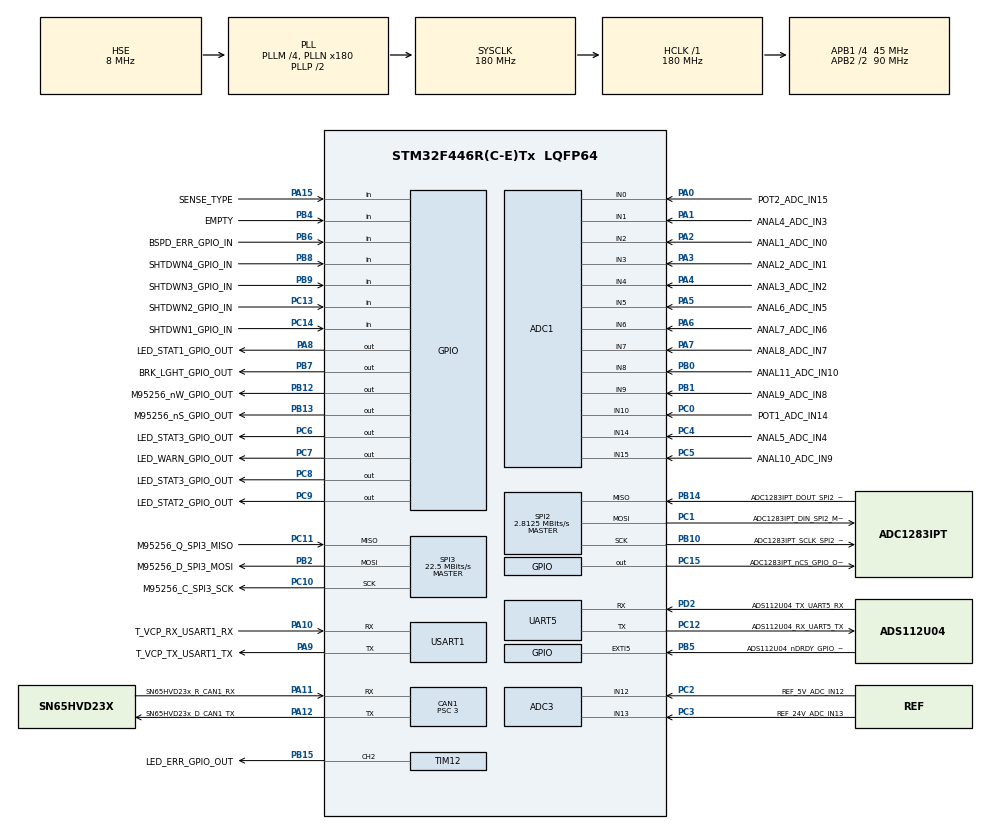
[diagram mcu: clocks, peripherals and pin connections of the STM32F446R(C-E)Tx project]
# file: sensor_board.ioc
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ADC1.Channel-0\#ChannelRegularConversion=ADC_CHANNEL_0
ADC1.Channel-1\#ChannelRegularConversion=ADC_CHANNEL_1
ADC1.Channel-10\#ChannelRegularConversion=ADC_CHANNEL_10
ADC1.Channel-14\#ChannelRegularConversion=ADC_CHANNEL_14
ADC1.Channel-15\#ChannelRegularConversion=ADC_CHANNEL_15
ADC1.Channel-2\#ChannelRegularConversion=ADC_CHANNEL_2
ADC1.Channel-3\#ChannelRegularConversion=ADC_CHANNEL_3
ADC1.Channel-4\#ChannelRegularConversion=ADC_CHANNEL_4
ADC1.Channel-5\#ChannelRegularConversion=ADC_CHANNEL_5
ADC1.Channel-6\#ChannelRegularConversion=ADC_CHANNEL_6
ADC1.Channel-7\#ChannelRegularConversion=ADC_CHANNEL_7
ADC1.Channel-8\#ChannelRegularConversion=ADC_CHANNEL_8
ADC1.Channel-9\#ChannelRegularConversion=ADC_CHANNEL_9
ADC1.DMAContinuousRequests=ENABLE
ADC1.DiscontinuousConvMode=DISABLE
ADC1.EOCSelection=ADC_EOC_SINGLE_CONV
ADC1.ExternalTrigConv=ADC_EXTERNALTRIGCONV_T2_TRGO
ADC1.ExternalTrigConvEdge=ADC_EXTERNALTRIGCONVEDGE_RISINGFALLING
ADC1.NbrOfConversion=13
ADC1.NbrOfConversionFlag=1
ADC1.Rank-0\#ChannelRegularConversion=1
ADC1.Rank-1\#ChannelRegularConversion=2
ADC1.Rank-10\#ChannelRegularConversion=11
ADC1.Rank-14\#ChannelRegularConversion=12
ADC1.Rank-15\#ChannelRegularConversion=13
ADC1.Rank-2\#ChannelRegularConversion=3
ADC1.Rank-3\#ChannelRegularConversion=4
ADC1.Rank-4\#ChannelRegularConversion=5
ADC1.Rank-5\#ChannelRegularConversion=6
ADC1.Rank-6\#ChannelRegularConversion=7
ADC1.Rank-7\#ChannelRegularConversion=8
ADC1.Rank-8\#ChannelRegularConversion=9
ADC1.Rank-9\#ChannelRegularConversion=10
ADC1.SamplingTime-0\#ChannelRegularConversion=ADC_SAMPLETIME_480CYCLES
ADC1.SamplingTime-1\#ChannelRegularConversion=ADC_SAMPLETIME_480CYCLES
ADC1.SamplingTime-10\#ChannelRegularConversion=ADC_SAMPLETIME_480CYCLES
ADC1.SamplingTime-14\#ChannelRegularConversion=ADC_SAMPLETIME_480CYCLES
ADC1.SamplingTime-15\#ChannelRegularConversion=ADC_SAMPLETIME_480CYCLES
ADC1.SamplingTime-2\#ChannelRegularConversion=ADC_SAMPLETIME_480CYCLES
ADC1.SamplingTime-3\#ChannelRegularConversion=ADC_SAMPLETIME_480CYCLES
ADC1.SamplingTime-4\#ChannelRegularConversion=ADC_SAMPLETIME_480CYCLES
ADC1.SamplingTime-5\#ChannelRegularConversion=ADC_SAMPLETIME_480CYCLES
ADC1.SamplingTime-6\#ChannelRegularConversion=ADC_SAMPLETIME_480CYCLES
ADC1.SamplingTime-7\#ChannelRegularConversion=ADC_SAMPLETIME_480CYCLES
ADC1.SamplingTime-8\#ChannelRegularConversion=ADC_SAMPLETIME_480CYCLES
ADC1.SamplingTime-9\#ChannelRegularConversion=ADC_SAMPLETIME_480CYCLES
ADC1.ScanConvMode=ENABLE
ADC1.master=1
ADC3.Channel-3\#ChannelRegularConversion=ADC_CHANNEL_12
ADC3.NbrOfConversionFlag=1
ADC3.Rank-3\#ChannelRegularConversion=1
ADC3.SamplingTime-3\#ChannelRegularConversion=ADC_SAMPLETIME_3CYCLES
CAN1.ABOM=ENABLE
CAN1.BS1=CAN_BS1_12TQ
CAN1.BS2=CAN_BS2_2TQ
CAN1.CalculateBaudRate=1000000
CAN1.CalculateTimeBit=1000
CAN1.CalculateTimeQuantum=66.66666666666666
CAN1.Prescaler=3
Dma.ADC1.0.Direction=DMA_PERIPH_TO_MEMORY
Dma.ADC1.0.FIFOMode=DMA_FIFOMODE_DISABLE
Dma.ADC1.0.Instance=DMA2_Stream0
Dma.ADC1.0.MemDataAlignment=DMA_MDATAALIGN_HALFWORD
Dma.ADC1.0.MemInc=DMA_MINC_ENABLE
Dma.ADC1.0.Mode=DMA_CIRCULAR
Dma.ADC1.0.PeriphDataAlignment=DMA_PDATAALIGN_HALFWORD
Dma.ADC1.0.PeriphInc=DMA_PINC_DISABLE
Dma.ADC1.0.Priority=DMA_PRIORITY_LOW
Dma.Request0=ADC1
IWDG.Reload=4096-1
Mcu.Family=STM32F4
Mcu.Name=STM32F446R(C-E)Tx
Mcu.Package=LQFP64
NVIC.ADC_IRQn=true\:0\:0\:false\:false\:true\:true\:true\:true
NVIC.CAN1_RX0_IRQn=true\:0\:0\:false\:false\:true\:true\:true\:true
NVIC.CAN1_RX1_IRQn=true\:0\:0\:false\:false\:true\:true\:true\:true
NVIC.CAN1_SCE_IRQn=true\:0\:0\:false\:false\:true\:true\:true\:true
NVIC.CAN1_TX_IRQn=true\:0\:0\:false\:false\:true\:true\:true\:true
NVIC.DMA2_Stream0_IRQn=true\:0\:0\:false\:false\:true\:false\:true\:true
NVIC.PriorityGroup=NVIC_PRIORITYGROUP_4
NVIC.TIM2_IRQn=true\:0\:0\:false\:false\:true\:true\:true\:true
NVIC.TIM6_DAC_IRQn=true\:0\:0\:false\:false\:true\:true\:true\:true
NVIC.TIM7_IRQn=true\:0\:0\:false\:false\:true\:true\:true\:true
NVIC.USART1_IRQn=true\:0\:0\:false\:false\:true\:true\:true\:true
PA0-WKUP.GPIO_Label=POT2_ADC_IN15
PA0-WKUP.Signal=ADCx_IN0
PA1.GPIO_Label=ANAL4_ADC_IN3
PA1.Signal=ADCx_IN1
PA10.GPIO_Label=T_VCP_RX_USART1_RX
PA10.Mode=Asynchronous
PA10.Signal=USART1_RX
PA11.GPIO_Label=SN65HVD23x_R_CAN1_RX
PA11.Mode=CAN_Activate
PA11.Signal=CAN1_RX
PA12.GPIO_Label=SN65HVD23x_D_CAN1_TX
PA12.Mode=CAN_Activate
PA12.Signal=CAN1_TX
PA13.Mode=Trace_Asynchronous_SW
PA13.Signal=SYS_JTMS-SWDIO
PA14.Mode=Trace_Asynchronous_SW
PA14.Signal=SYS_JTCK-SWCLK
PA15.GPIO_Label=SENSE_TYPE
PA15.GPIO_PuPd=GPIO_PULLUP
PA15.Signal=GPIO_Input
PA2.GPIO_Label=ANAL1_ADC_IN0
PA2.Signal=ADCx_IN2
PA3.GPIO_Label=ANAL2_ADC_IN1
PA3.Signal=ADCx_IN3
PA4.GPIO_Label=ANAL3_ADC_IN2
PA4.Signal=ADCx_IN4
PA5.GPIO_Label=ANAL6_ADC_IN5
PA5.Signal=ADCx_IN5
PA6.GPIO_Label=ANAL7_ADC_IN6
PA6.Signal=ADCx_IN6
PA7.GPIO_Label=ANAL8_ADC_IN7
PA7.Signal=ADCx_IN7
PA8.GPIO_Label=LED_STAT1_GPIO_OUT
PA8.Signal=GPIO_Output
PA9.GPIO_Label=T_VCP_TX_USART1_TX
PA9.Mode=Asynchronous
PA9.Signal=USART1_TX
PB0.GPIO_Label=ANAL11_ADC_IN10
PB0.Signal=ADCx_IN8
PB1.GPIO_Label=ANAL9_ADC_IN8
PB1.Signal=ADCx_IN9
PB10.GPIO_Label=ADC1283IPT_SCLK_SPI2_SCK
PB10.Mode=Full_Duplex_Master
PB10.Signal=SPI2_SCK
PB12.GPIO_Label=M95256_nW_GPIO_OUT
PB12.Signal=GPIO_Output
PB13.GPIO_Label=M95256_nS_GPIO_OUT
PB13.Signal=GPIO_Output
PB14.GPIO_Label=ADC1283IPT_DOUT_SPI2_MISO
PB14.Mode=Full_Duplex_Master
PB14.Signal=SPI2_MISO
PB15.GPIO_Label=LED_ERR_GPIO_OUT
PB15.Signal=S_TIM12_CH2
PB2.GPIO_Label=M95256_D_SPI3_MOSI
PB2.Mode=Full_Duplex_Master
PB2.Signal=SPI3_MOSI
PB3.Mode=Trace_Asynchronous_SW
PB3.Signal=SYS_JTDO-SWO
PB4.GPIO_Label=EMPTY
PB4.GPIO_PuPd=GPIO_PULLDOWN
PB4.Signal=GPIO_Input
PB5.GPIO_Label=ADS112U04_nDRDY_GPIO_IN
PB5.Signal=GPXTI5
PB6.GPIO_Label=BSPD_ERR_GPIO_IN
PB6.Signal=GPIO_Input
PB7.GPIO_Label=BRK_LGHT_GPIO_OUT
PB7.Signal=GPIO_Output
PB8.GPIO_Label=SHTDWN4_GPIO_IN
PB8.Signal=GPIO_Input
PB9.GPIO_Label=SHTDWN3_GPIO_IN
PB9.Signal=GPIO_Input
PC0.GPIO_Label=POT1_ADC_IN14
PC0.Signal=ADCx_IN10
PC1.GPIO_Label=ADC1283IPT_DIN_SPI2_MOSI
PC1.Mode=Full_Duplex_Master
PC1.Signal=SPI2_MOSI
PC10.GPIO_Label=M95256_C_SPI3_SCK
PC10.Mode=Full_Duplex_Master
PC10.Signal=SPI3_SCK
PC11.GPIO_Label=M95256_Q_SPI3_MISO
PC11.Mode=Full_Duplex_Master
PC11.Signal=SPI3_MISO
PC12.GPIO_Label=ADS112U04_RX_UART5_TX
PC12.Mode=Asynchronous
PC12.Signal=UART5_TX
PC13.GPIO_Label=SHTDWN2_GPIO_IN
PC13.Signal=GPIO_Input
PC14-OSC32_IN.GPIO_Label=SHTDWN1_GPIO_IN
PC14-OSC32_IN.Signal=GPIO_Input
PC15-OSC32_OUT.GPIO_Label=ADC1283IPT_nCS_GPIO_OUT
PC15-OSC32_OUT.Signal=GPIO_Output
PC2.GPIO_Label=REF_5V_ADC_IN12
PC2.Signal=ADCx_IN12
PC3.GPIO_Label=REF_24V_ADC_IN13
PC3.Signal=ADCx_IN13
PC4.GPIO_Label=ANAL5_ADC_IN4
PC4.Signal=ADCx_IN14
PC5.GPIO_Label=ANAL10_ADC_IN9 
PC5.Signal=ADCx_IN15
PC6.GPIO_Label=LED_STAT3_GPIO_OUT
PC6.Signal=GPIO_Output
PC7.GPIO_Label=LED_WARN_GPIO_OUT
PC7.Signal=GPIO_Output
PC8.GPIO_Label=LED_STAT3_GPIO_OUT
PC8.Signal=GPIO_Output
PC9.GPIO_Label=LED_STAT2_GPIO_OUT
PC9.Signal=GPIO_Output
PD2.GPIO_Label=ADS112U04_TX_UART5_RX
PD2.Mode=Asynchronous
PD2.Signal=UART5_RX
PH0-OSC_IN.Mode=HSE-External-Oscillator
PH0-OSC_IN.Signal=RCC_OSC_IN
PH1-OSC_OUT.Mode=HSE-External-Oscillator
PH1-OSC_OUT.Signal=RCC_OSC_OUT
ProjectManager.HeapSize=0x200
ProjectManager.StackSize=0x400
ProjectManager.TargetToolchain=Makefile
RCC.AHBFreq_Value=180000000
RCC.APB1CLKDivider=RCC_HCLK_DIV4
RCC.APB1Freq_Value=45000000
RCC.APB1TimFreq_Value=90000000
RCC.APB2CLKDivider=RCC_HCLK_DIV2
RCC.APB2Freq_Value=90000000
RCC.APB2TimFreq_Value=180000000
RCC.CortexFreq_Value=180000000
RCC.HCLKFreq_Value=180000000
RCC.HSE_VALUE=8000000
RCC.PLLM=4
RCC.PLLN=180
RCC.PLLSourceVirtual=RCC_PLLSOURCE_HSE
RCC.SYSCLKFreq_VALUE=180000000
RCC.SYSCLKSource=RCC_SYSCLKSOURCE_PLLCLK
RCC.USBFreq_Value=180000000
RCC.VCOOutputFreq_Value=360000000
SH.ADCx_IN0.0=ADC1_IN0,IN0
SH.ADCx_IN1.0=ADC1_IN1,IN1
SH.ADCx_IN10.0=ADC1_IN10,IN10
SH.ADCx_IN12.0=ADC3_IN12,IN12
SH.ADCx_IN13.0=ADC3_IN13,IN13
SH.ADCx_IN14.0=ADC2_IN14
SH.ADCx_IN14.1=ADC1_IN14,IN14
SH.ADCx_IN15.0=ADC2_IN15
SH.ADCx_IN15.1=ADC1_IN15,IN15
SH.ADCx_IN2.0=ADC1_IN2,IN2
SH.ADCx_IN3.0=ADC1_IN3,IN3
SH.ADCx_IN4.0=ADC1_IN4,IN4
SH.ADCx_IN5.0=ADC1_IN5,IN5
SH.ADCx_IN6.0=ADC1_IN6,IN6
SH.ADCx_IN7.0=ADC1_IN7,IN7
SH.ADCx_IN8.0=ADC1_IN8,IN8
SH.ADCx_IN9.0=ADC1_IN9,IN9
SH.S_TIM12_CH2.0=TIM12_CH2,PWM Generation2 CH2
SPI2.BaudRatePrescaler=SPI_BAUDRATEPRESCALER_16
SPI2.CLKPhase=SPI_PHASE_2EDGE
SPI2.CLKPolarity=SPI_POLARITY_HIGH
SPI2.CalculateBaudRate=2.8125 MBits/s
SPI2.DataSize=SPI_DATASIZE_8BIT
SPI2.Direction=SPI_DIRECTION_2LINES
SPI2.FirstBit=SPI_FIRSTBIT_MSB
SPI2.Mode=SPI_MODE_MASTER
SPI2.VirtualType=VM_MASTER
SPI3.CalculateBaudRate=22.5 MBits/s
SPI3.Direction=SPI_DIRECTION_2LINES
SPI3.Mode=SPI_MODE_MASTER
SPI3.VirtualType=VM_MASTER
TIM12.Channel-PWM\ Generation2\ CH2=TIM_CHANNEL_2
TIM2.Period=9
TIM2.Prescaler=899
TIM2.TIM_MasterOutputTrigger=TIM_TRGO_UPDATE
TIM6.Prescaler=899
TIM7.Prescaler=45000-1
UART5.VirtualMode=Asynchronous
USART1.VirtualMode=VM_ASYNC
VP_IWDG_VS_IWDG.Mode=IWDG_Activate
VP_TIM12_VS_ClockSourceITR.Mode=TriggerSource_ITR0
VP_TIM2_VS_ClockSourceINT.Mode=Internal
VP_TIM6_VS_ClockSourceINT.Mode=Enable_Timer
VP_TIM7_VS_ClockSourceINT.Mode=Enable_Timer
board=custom

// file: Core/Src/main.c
/* USER CODE BEGIN Header */
/**
  ******************************************************************************
  * @file           : main.c
  * @brief          : Main program body
  ******************************************************************************
  * @attention
  *
  * Copyright (c) 2023 STMicroelectronics.
  * All rights reserved.
  *
  * This software is licensed under terms that can be found in the LICENSE file
  * in the root directory of this software component.
  * If no LICENSE file comes with this software, it is provided AS-IS.
  *
  ******************************************************************************
  */
/* USER CODE END Header */
#include "main.h"
#include "adc.h"
#include "can.h"
#include "dma.h"
#include "iwdg.h"
#include "spi.h"
#include "tim.h"
#include "usart.h"
#include "gpio.h"

/* USER CODE BEGIN Includes */
// clang-format off
#include "conf.h"
// clang-format on
#include "bsp.h"
#include "can_send_timebase.h"
#include "can_utils.h"
#include "logger_wrapper.h"
#include "stdio.h"
#include "string.h"
/* USER CODE END Includes */

/* USER CODE BEGIN PV */
char buf[100] = {};
/* USER CODE END PV */

void SystemClock_Config(void);

int main(void)
{

  /* MCU Configuration--------------------------------------------------------*/

  /* Reset of all peripherals, Initializes the Flash interface and the Systick. */
  HAL_Init();

  /* Configure the system clock */
  SystemClock_Config();

  /* Initialize all configured peripherals */
  MX_GPIO_Init();
  MX_DMA_Init();
  MX_TIM2_Init();
  MX_ADC1_Init();
  MX_CAN1_Init();
  MX_SPI2_Init();
  MX_SPI3_Init();
  MX_UART5_Init();
  MX_USART1_UART_Init();
  MX_ADC3_Init();
  MX_TIM12_Init();
  MX_TIM6_Init();
  MX_TIM7_Init();
  MX_IWDG_Init();
  /* USER CODE BEGIN 2 */
    logger_init();
    can_init();
    can_send_timebase_init();

    // Show at the start the type of sensorboard in function
    if (SENS_GET_TYPE() == SENS_TYPE_FRONT) {
        HAL_GPIO_WritePin(SENS_FRONT_LED_GPIO_PORT, SENS_FRONT_LED_GPIO_PIN, GPIO_PIN_SET);
        can_send_msg(MCB_SB_FRONT_HELLO_FRAME_ID);
    } else {
        HAL_GPIO_WritePin(SENS_REAR_LED_GPIO_PORT, SENS_REAR_LED_GPIO_PIN, GPIO_PIN_SET);
        can_send_msg(MCB_SB_REAR_HELLO_FRAME_ID);
    }
    uint32_t cnt1ms    = HAL_GetTick() + 1U;
    uint32_t cnt10ms   = HAL_GetTick() + 10U;
    uint32_t cnt100ms  = HAL_GetTick() + 100U;
    uint32_t cnt1000ms = HAL_GetTick() + 1000U;

    uint32_t ntc_sampling_cnt = HAL_GetTick();

  /* USER CODE END 2 */

  /* Infinite loop */
  /* USER CODE BEGIN WHILE */
    while (1) {
        //DRTB_routine();
        if (HAL_GetTick() >= cnt1ms) {
            cnt1ms += 1U;
        }
        if (HAL_GetTick() >= cnt10ms) {
            cnt10ms += 10U;

#ifdef DEBUG_SERIAL
            char *target = buf;
#ifdef DEBUG_AIN
            for (int i = 0; i < ADC_ADC1_Channel_NUM; i++) {
                float val = ADC_ADC1_getChannel_V((enum ADC_ADC1_Channel)i);
                target += sprintf(target, "%.3f,", val);
            }
#endif  // DEBUG_AIN
#ifdef DEBUG_NTC
            for (int i = 0; i < NTC_Probe_NUM; i++) {
                float val = NTC_Probe_get_resistance((enum NTC_Probe)i);
                target += sprintf(target, "%.3f,", val);
            }
#endif  // DEBUG_NTC
#ifdef DEBUG_SDC
            for (int i = 0; i < SDC_Probe_NUM; i++) {
                uint8_t val = SDC_Probe_get_status((enum SDC_Probe)i);
                target += sprintf(target, "%u,", val);
            }
#endif  // DEBUG_SDC
#ifdef DEBUG_BSPD
            target += sprintf(target, "%u,", BSPD_DEV_IS_IN_ERR());
#endif  // DEBUG_BSPD
#ifdef DEBUG_BRAKE_LIGHT
            target += sprintf(target, "%u,", BRAKE_LIGHT_IS_ON());
#endif  // DEBUG_BRAKE_LIGHT

            // remove last ","
            if (target > buf) {
                target--;
            }
            // add newline at the end
            target += sprintf(target, "\r\n");
            HAL_UART_Transmit(&VCP_UART_Handle, (uint8_t *)buf, strlen(buf), VCP_TX_LOG_BUF_MAX_TIMEOUT_ms);
#endif  // DEBUG_SERIAL
        }
        if (HAL_GetTick() >= cnt100ms) {
            cnt100ms += 100U;
        }
        if (HAL_GetTick() >= cnt1000ms) {
            cnt1000ms += 1000U;
            // Show I'm Alive by blinking sens type led
            if (SENS_GET_TYPE() == SENS_TYPE_FRONT) {
                HAL_GPIO_TogglePin(SENS_FRONT_LED_GPIO_PORT, SENS_FRONT_LED_GPIO_PIN);
            } else {
                HAL_GPIO_TogglePin(SENS_REAR_LED_GPIO_PORT, SENS_REAR_LED_GPIO_PIN);
            }
        }
        // Run NTC Probes sampling
        if (HAL_GetTick() >= ntc_sampling_cnt + NTC_SAMP_PERIOD_ms) {
            ntc_sampling_cnt += NTC_SAMP_PERIOD_ms;
            NTC_Probes_sampling_routine();
        }

        can_send_timebase_routine();
        logger_routine();

    /* USER CODE END WHILE */

    /* USER CODE BEGIN 3 */
        HAL_IWDG_Refresh(&hiwdg);  // refresh watchdog ~10ms timeout
    }                              // end while(1)
  /* USER CODE END 3 */
}

void SystemClock_Config(void)
{
  RCC_OscInitTypeDef RCC_OscInitStruct = {0};
  RCC_ClkInitTypeDef RCC_ClkInitStruct = {0};

  /** Configure the main internal regulator output voltage
  */
  __HAL_RCC_PWR_CLK_ENABLE();
  __HAL_PWR_VOLTAGESCALING_CONFIG(PWR_REGULATOR_VOLTAGE_SCALE1);

  /** Initializes the RCC Oscillators according to the specified parameters
  * in the RCC_OscInitTypeDef structure.
  */
  RCC_OscInitStruct.OscillatorType = RCC_OSCILLATORTYPE_LSI|RCC_OSCILLATORTYPE_HSE;
  RCC_OscInitStruct.HSEState = RCC_HSE_ON;
  RCC_OscInitStruct.LSIState = RCC_LSI_ON;
  RCC_OscInitStruct.PLL.PLLState = RCC_PLL_ON;
  RCC_OscInitStruct.PLL.PLLSource = RCC_PLLSOURCE_HSE;
  RCC_OscInitStruct.PLL.PLLM = 4;
  RCC_OscInitStruct.PLL.PLLN = 180;
  RCC_OscInitStruct.PLL.PLLP = RCC_PLLP_DIV2;
  RCC_OscInitStruct.PLL.PLLQ = 2;
  RCC_OscInitStruct.PLL.PLLR = 2;
  if (HAL_RCC_OscConfig(&RCC_OscInitStruct) != HAL_OK)
  {
    Error_Handler();
  }

  /** Activate the Over-Drive mode
  */
  if (HAL_PWREx_EnableOverDrive() != HAL_OK)
  {
    Error_Handler();
  }

  /** Initializes the CPU, AHB and APB buses clocks
  */
  RCC_ClkInitStruct.ClockType = RCC_CLOCKTYPE_HCLK|RCC_CLOCKTYPE_SYSCLK
                              |RCC_CLOCKTYPE_PCLK1|RCC_CLOCKTYPE_PCLK2;
  RCC_ClkInitStruct.SYSCLKSource = RCC_SYSCLKSOURCE_PLLCLK;
  RCC_ClkInitStruct.AHBCLKDivider = RCC_SYSCLK_DIV1;
  RCC_ClkInitStruct.APB1CLKDivider = RCC_HCLK_DIV4;
  RCC_ClkInitStruct.APB2CLKDivider = RCC_HCLK_DIV2;

  if (HAL_RCC_ClockConfig(&RCC_ClkInitStruct, FLASH_LATENCY_5) != HAL_OK)
  {
    Error_Handler();
  }
}

void Error_Handler(void)
{
    __disable_irq();
    while (1) {
    }
}

#ifdef  USE_FULL_ASSERT
/**
  * @brief  Reports the name of the source file and the source line number
  *         where the assert_param error has occurred.
  * @param  file: pointer to the source file name
  * @param  line: assert_param error line source number
  * @retval None
  */
void assert_failed(uint8_t *file, uint32_t line)
{
  /* USER CODE BEGIN 6 */
    /* User can add his own implementation to report the file name and line number,
     eg: printf("Wrong parameters value: file %s on line %d\r\n", file, line) */
    logger_log(LOGGER_ERROR, "Error in file: %s on line %d", file, line);
  /* USER CODE END 6 */
}
#endif /* USE_FULL_ASSERT */
